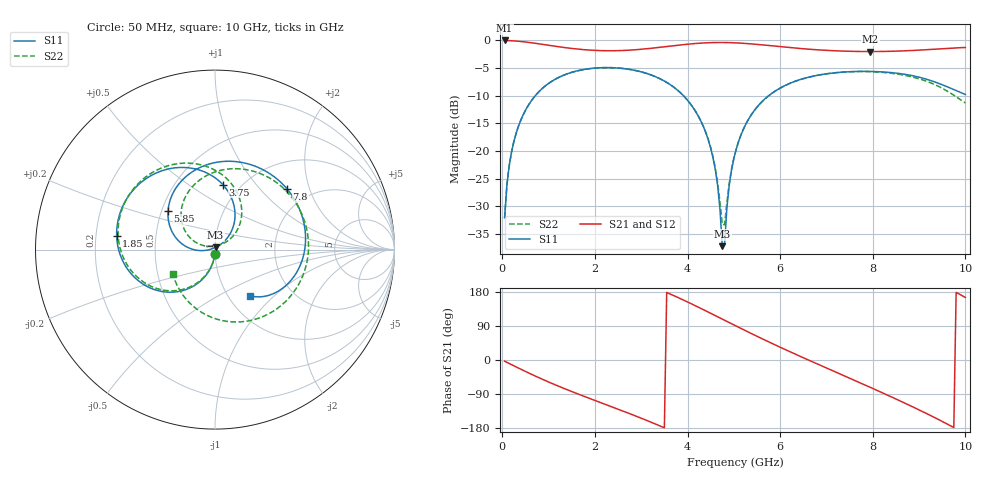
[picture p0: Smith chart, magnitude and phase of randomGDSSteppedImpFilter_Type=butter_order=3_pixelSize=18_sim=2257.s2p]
! freq	dB(S11)	phase(S11)	dB(S12)	phase(S12)
!  dB(S21)	phase(S21)	dB(S22)	phase(S22)
!S-par simulation data
#  GHz  S  DB  R 50
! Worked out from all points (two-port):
!   200 points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, 50 MHz to 10 GHz, reference 50 ohm
!   highest |S21| = -0.01 dB at 50 MHz (marker M1); lowest = -2.0 dB at 7.95 GHz (marker M2)
!   |S21| within 3 dB of the highest: start of sweep to end of sweep
!   lowest |S11| = -37.2 dB at 4.75 GHz (marker M3), VSWR 1.03, Z = 50.3 + j1.34 ohm
!   |S11| at or under -10 dB: start of sweep to 713 MHz; 3.911 GHz to 5.753 GHz (1.842 GHz wide, 38.1 % of centre)
!   |S22| runs from -33.3 to -4.9 dB; largest |S21 - S12| = 0
!   S11 on the Smith chart (normalised r, x): 50 MHz: 1.00, -0.05; 1.85 GHz: 0.29, +0.06; 3.75 GHz: 0.83, +0.69; 5.85 GHz: 0.54, +0.26; 7.8 GHz: 1.53, +1.43; 10 GHz: 1.26, -0.72
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0.05  -32.09 -93.1  -0.01 -3.1  -0.01 -3.1  -32.10 -93.3
0.2  -20.17 -102.4  -0.06 -12.3  -0.06 -12.3  -20.15 -103.0
0.5  -12.65 -120.1  -0.28 -30.2  -0.28 -30.2  -12.65 -121.3
1.05  -7.49 -149.9  -0.94 -60.7  -0.94 -60.7  -7.49 -152.4
1.75  -5.27 176.5  -1.66 -95.1  -1.66 -95.1  -5.28 172.2
1.85  -5.14 172.0  -1.73 -99.8  -1.73 -99.8  -5.15 167.4
2.7  -5.18 134.1  -1.78 -139.1  -1.78 -139.1  -5.18 127.2
3.4  -6.91 101.0  -1.25 -173.7  -1.25 -173.7  -6.91 92.1
3.75  -8.76 83.2  -0.91 167.3  -0.91 167.3  -8.76 73.3
4.45  -18.04 46.7  -0.42 126.3  -0.42 126.3  -17.95 36.9
4.65  -26.26 42.1  -0.37 114.1  -0.37 114.1  -25.71 37.4
4.75  -37.22 75.5  -0.37 108.0  -0.37 108.0  -33.27 73.6
4.8  -36.93 155.3  -0.38 104.9  -0.38 104.9  -33.35 121.9
4.9  -26.23 -175.4  -0.40 98.8  -0.40 98.8  -25.87 158.2
5.05  -19.72 -178.1  -0.44 89.6  -0.44 89.6  -19.67 160.2
5.85  -9.40 140.5  -1.00 42.2  -1.00 42.2  -9.41 118.9
6.7  -6.49 96.0  -1.64 -4.9  -1.64 -4.9  -6.49 71.4
7.8  -5.60 40.1  -2.01 -64.2  -2.01 -64.2  -5.62 11.3
7.95  -5.61 32.6  -2.01 -72.4  -2.01 -72.4  -5.65 3.0
8.35  -5.78 12.6  -1.98 -94.4  -1.98 -94.4  -5.89 -19.6
9.25  -7.25 -29.7  -1.63 -146.6  -1.63 -146.6  -7.68 -77.0
10  -9.78 -52.5  -1.28 165.0  -1.28 165.0  -11.31 -149.6
